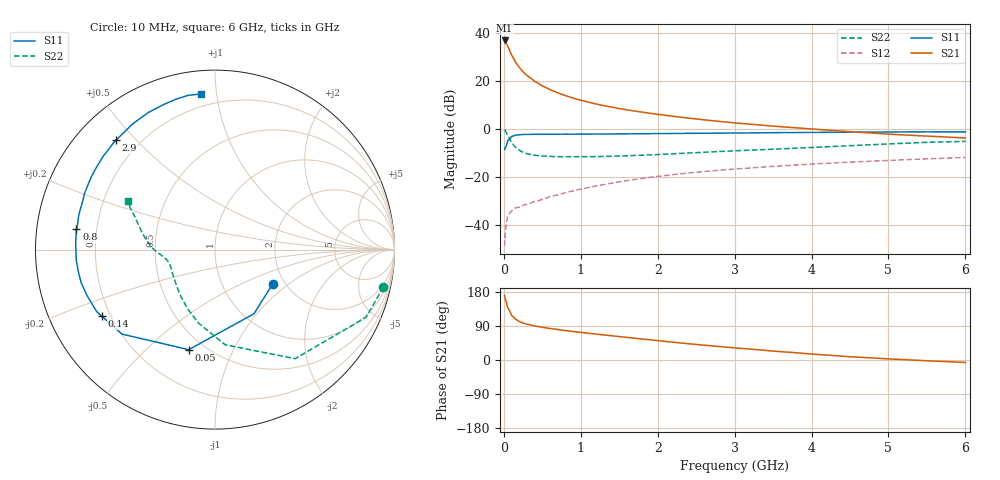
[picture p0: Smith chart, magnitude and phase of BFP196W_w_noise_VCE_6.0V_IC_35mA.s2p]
! Infineon Technologies  Discrete & RF Semiconductors
! BFP196W
! VCE =  6.0 V,  IC =  35 mA
! Common Emitter S-Parameters:  Jan 2017
# GHz  S  MA  R  50
!  f  S11  S21  S12  S22
! GHz  MAG  ANG  MAG  ANG  MAG  ANG  MAG  ANG
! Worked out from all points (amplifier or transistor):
!   77 points, 10 MHz to 6 GHz, reference 50 ohm
!   highest |S21| = 36.7 dB at 10 MHz (marker M1)
!   |S21| within 3 dB of that: start of sweep to 59.11 MHz
!   unconditionally stable (mu >= 1): 821.1 MHz to 3.292 GHz
!   at 130 MHz: K = 0.34, MSG = 31.2 dB, |S12| = -33.2 dB
!   at 2.2 GHz: K = 1.04, MAG = 10.9 dB, |S12| = -19.0 dB
!   at 6 GHz: K = 0.92, MSG = 4.0 dB, |S12| = -11.8 dB
!   lowest NFmin = 1.19 dB at 450 MHz
!   S11 on the Smith chart (normalised r, x): 10 MHz: 1.73, -0.77; 50 MHz: 0.41, -0.69; 140 MHz: 0.17, -0.26; 800 MHz: 0.12, +0.07; 2.9 GHz: 0.12, +0.44; 6 GHz: 0.13, +0.91
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0.01  0.3744 -30.6  68.62 170.5  0.0037 78.3  0.9614 -12.5
0.02  0.4182 -58.8  65.84 160.3  0.0075 76.6  0.9227 -24.1
0.05  0.5765 -104.7  52.16 137.9  0.0155 54.7  0.7541 -53.7
0.1  0.7004 -137.8  34.4 117.8  0.0199 41.8  0.533 -83.9
0.14  0.7317 -149.6  26.53 110.5  0.0225 38.6  0.438 -98.2
0.15  0.7441 -152.3  24.66 107.9  0.0231 37.9  0.4197 -102.7
0.2  0.7578 -160.4  18.98 101.8  0.0238 39.2  0.3627 -115.0
0.25  0.7678 -166.0  15.37 97.5  0.0262 40.3  0.328 -124.4
0.3  0.7708 -170.0  12.89 94.5  0.0272 41.8  0.3077 -131.2
0.4  0.7753 -175.5  9.784 89.7  0.031 45.6  0.2852 -141.0
0.5  0.775 -179.5  7.842 86.2  0.0345 48.7  0.2749 -147.4
0.6  0.7773 177.2  6.56 83.1  0.0394 50.9  0.2705 -152.1
0.7  0.778 174.4  5.62 80.5  0.0428 54.5  0.266 -155.5
0.8  0.7804 171.7  4.927 77.6  0.0479 56.4  0.2656 -157.8
1.1  0.7832 164.9  3.599 70.7  0.0611 58.3  0.2664 -163.1
1.5  0.7912 156.9  2.652 61.8  0.0799 58.6  0.2753 -168.0
2.1  0.8035 145.4  1.92 49.1  0.1083 56.1  0.3 -173.9
2.9  0.822 132.0  1.386 33.8  0.1433 50.6  0.3462 178.9
3.1  0.8253 128.9  1.298 30.4  0.1513 49.0  0.3576 176.9
4.1  0.8501 114.6  0.975 14.4  0.1903 41.1  0.42 166.4
5.1  0.8665 103.7  0.766 2.0  0.2257 33.4  0.4969 156.3
6  0.8707 95.2  0.65 -6.5  0.2568 26.5  0.5527 150.8
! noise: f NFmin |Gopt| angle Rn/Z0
0.45  1.19  0.46  180  0.06
0.9  1.33  0.53  -174  0.06
1.9  2.17  0.68  -151  0.13
2.4  2.57  0.73  -145  0.23
